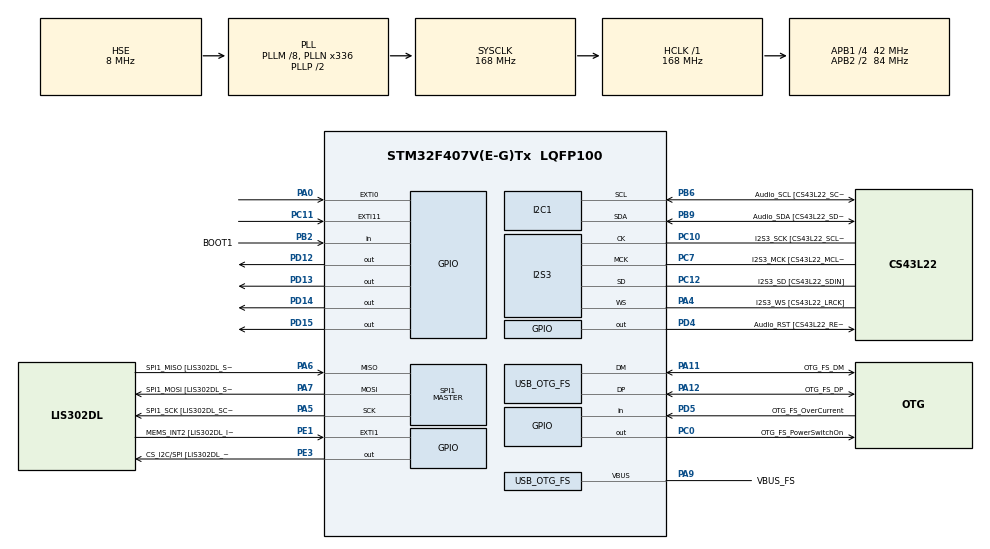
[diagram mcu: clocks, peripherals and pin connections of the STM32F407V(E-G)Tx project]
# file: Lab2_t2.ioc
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I2S3.AudioFreq-Half_Duplex_Master=I2S_AUDIOFREQ_96K
I2S3.ErrorAudioFreq=-2.34 %
I2S3.ErrorAudioFreq-Half_Duplex_Master=0.8 %
I2S3.FullDuplexMode=I2S_FULLDUPLEXMODE_DISABLE
I2S3.Instance=SPI$Index
I2S3.RealAudioFreq=93.75 KHz
I2S3.RealAudioFreq-Half_Duplex_Master=96.774 KHz
I2S3.VirtualMode=I2S_MODE_MASTER
Mcu.Family=STM32F4
Mcu.Name=STM32F407V(E-G)Tx
Mcu.Package=LQFP100
NVIC.EXTI0_IRQn=true\:0\:0\:false\:false\:true\:true\:true\:true
NVIC.OTG_FS_IRQn=true\:0\:0\:false\:false\:true\:true\:true\:true
NVIC.PriorityGroup=NVIC_PRIORITYGROUP_0
NVIC.TIM2_IRQn=true\:0\:0\:false\:false\:true\:true\:true\:true
PA0-WKUP.GPIO_ModeDefaultEXTI=GPIO_MODE_IT_RISING
PA0-WKUP.Signal=GPXTI0
PA10.GPIO_Label=OTG_FS_ID
PA10.GPIO_Mode=GPIO_MODE_AF_PP
PA10.GPIO_PuPd=GPIO_NOPULL
PA10.GPIO_Speed=GPIO_SPEED_FREQ_LOW
PA10.Signal=USB_OTG_FS_ID
PA11.GPIO_Label=OTG_FS_DM
PA11.GPIO_Mode=GPIO_MODE_AF_PP
PA11.GPIO_PuPd=GPIO_NOPULL
PA11.GPIO_Speed=GPIO_SPEED_FREQ_LOW
PA11.Mode=Host_Only
PA11.Signal=USB_OTG_FS_DM
PA12.GPIO_Label=OTG_FS_DP
PA12.GPIO_Mode=GPIO_MODE_AF_PP
PA12.GPIO_PuPd=GPIO_NOPULL
PA12.GPIO_Speed=GPIO_SPEED_FREQ_LOW
PA12.Mode=Host_Only
PA12.Signal=USB_OTG_FS_DP
PA13.GPIO_Label=SWDIO
PA13.Mode=Serial_Wire
PA13.Signal=SYS_JTMS-SWDIO
PA14.GPIO_Label=SWCLK
PA14.Mode=Serial_Wire
PA14.Signal=SYS_JTCK-SWCLK
PA4.GPIO_Label=I2S3_WS [CS43L22_LRCK]
PA4.GPIO_Mode=GPIO_MODE_AF_PP
PA4.GPIO_PuPd=GPIO_NOPULL
PA4.GPIO_Speed=GPIO_SPEED_FREQ_LOW
PA4.Mode=Half_Duplex_Master
PA4.Signal=I2S3_WS
PA5.GPIO_Label=SPI1_SCK [LIS302DL_SCL/SPC]
PA5.GPIO_Mode=GPIO_MODE_AF_PP
PA5.GPIO_PuPd=GPIO_NOPULL
PA5.GPIO_Speed=GPIO_SPEED_FREQ_LOW
PA5.Mode=Full_Duplex_Master
PA5.Signal=SPI1_SCK
PA6.GPIO_Label=SPI1_MISO [LIS302DL_SDO]
PA6.GPIO_Mode=GPIO_MODE_AF_PP
PA6.GPIO_PuPd=GPIO_NOPULL
PA6.GPIO_Speed=GPIO_SPEED_FREQ_LOW
PA6.Mode=Full_Duplex_Master
PA6.Signal=SPI1_MISO
PA7.GPIO_Label=SPI1_MOSI [LIS302DL_SDA/SDI/SDO]
PA7.GPIO_Mode=GPIO_MODE_AF_PP
PA7.GPIO_PuPd=GPIO_NOPULL
PA7.GPIO_Speed=GPIO_SPEED_FREQ_LOW
PA7.Mode=Full_Duplex_Master
PA7.Signal=SPI1_MOSI
PA9.GPIO_Label=VBUS_FS
PA9.GPIO_Mode=GPIO_MODE_INPUT
PA9.GPIO_PuPd=GPIO_NOPULL
PA9.Mode=Activate_VBUS
PA9.Signal=USB_OTG_FS_VBUS
PB10.GPIO_Label=CLK_IN [MP45DT02_CLK]
PB10.GPIO_Mode=GPIO_MODE_AF_PP
PB10.GPIO_PuPd=GPIO_NOPULL
PB10.GPIO_Speed=GPIO_SPEED_FREQ_LOW
PB10.Signal=I2S2_CK
PB2.GPIO_Label=BOOT1
PB2.GPIO_Mode=GPIO_MODE_INPUT
PB2.GPIO_PuPd=GPIO_NOPULL
PB2.Signal=GPIO_Input
PB3.GPIO_Label=SWO
PB3.Signal=SYS_JTDO-SWO
PB6.GPIO_Label=Audio_SCL [CS43L22_SCL]
PB6.GPIO_Mode=GPIO_MODE_AF_OD
PB6.GPIO_Pu=GPIO_PULLUP
PB6.GPIO_PuPd=GPIO_NOPULL
PB6.GPIO_Speed=GPIO_SPEED_FREQ_LOW
PB6.Mode=I2C
PB6.Signal=I2C1_SCL
PB9.GPIO_Label=Audio_SDA [CS43L22_SDA]
PB9.GPIO_Mode=GPIO_MODE_AF_OD
PB9.GPIO_Pu=GPIO_PULLUP
PB9.GPIO_PuPd=GPIO_NOPULL
PB9.GPIO_Speed=GPIO_SPEED_FREQ_LOW
PB9.Mode=I2C
PB9.Signal=I2C1_SDA
PC0.GPIO_Label=OTG_FS_PowerSwitchOn
PC0.GPIO_PuPd=GPIO_NOPULL
PC0.GPIO_Speed=GPIO_SPEED_FREQ_LOW
PC0.PinState=GPIO_PIN_SET
PC0.Signal=GPIO_Output
PC10.GPIO_Label=I2S3_SCK [CS43L22_SCLK]
PC10.GPIO_Mode=GPIO_MODE_AF_PP
PC10.GPIO_PuPd=GPIO_NOPULL
PC10.GPIO_Speed=GPIO_SPEED_FREQ_LOW
PC10.Mode=Half_Duplex_Master
PC10.Signal=I2S3_CK
PC11.GPIO_ModeDefaultEXTI=GPIO_MODE_IT_RISING_FALLING
PC11.Signal=GPXTI11
PC12.GPIO_Label=I2S3_SD [CS43L22_SDIN]
PC12.GPIO_Mode=GPIO_MODE_AF_PP
PC12.GPIO_PuPd=GPIO_NOPULL
PC12.GPIO_Speed=GPIO_SPEED_FREQ_LOW
PC12.Mode=Half_Duplex_Master
PC12.Signal=I2S3_SD
PC14-OSC32_IN.GPIO_Label=PC14-OSC32_IN
PC14-OSC32_IN.Mode=LSE-External-Oscillator
PC14-OSC32_IN.Signal=RCC_OSC32_IN
PC15-OSC32_OUT.GPIO_Label=PC15-OSC32_OUT
PC15-OSC32_OUT.Mode=LSE-External-Oscillator
PC15-OSC32_OUT.Signal=RCC_OSC32_OUT
PC3.GPIO_Label=PDM_OUT [MP45DT02_DOUT]
PC3.GPIO_Mode=GPIO_MODE_AF_PP
PC3.GPIO_PuPd=GPIO_NOPULL
PC3.GPIO_Speed=GPIO_SPEED_FREQ_LOW
PC3.Signal=I2S2_SD
PC7.GPIO_Label=I2S3_MCK [CS43L22_MCLK]
PC7.GPIO_Mode=GPIO_MODE_AF_PP
PC7.GPIO_PuPd=GPIO_NOPULL
PC7.GPIO_Speed=GPIO_SPEED_FREQ_LOW
PC7.Mode=Master_Clock_Activated
PC7.Signal=I2S3_MCK
PD12.Signal=GPIO_Output
PD13.Signal=GPIO_Output
PD14.Signal=GPIO_Output
PD15.Signal=GPIO_Output
PD4.GPIO_Label=Audio_RST [CS43L22_RESET]
PD4.GPIO_PuPd=GPIO_NOPULL
PD4.GPIO_Speed=GPIO_SPEED_FREQ_LOW
PD4.Signal=GPIO_Output
PD5.GPIO_Label=OTG_FS_OverCurrent
PD5.GPIO_Mode=GPIO_MODE_INPUT
PD5.GPIO_PuPd=GPIO_NOPULL
PD5.Signal=GPIO_Input
PE1.GPIO_Label=MEMS_INT2 [LIS302DL_INT2]
PE1.GPIO_ModeDefaultEXTI=GPIO_MODE_EVT_RISING
PE1.GPIO_PuPd=GPIO_NOPULL
PE1.Signal=GPXTI1
PE3.GPIO_Label=CS_I2C/SPI [LIS302DL_CS_I2C/SPI]
PE3.GPIO_PuPd=GPIO_NOPULL
PE3.GPIO_Speed=GPIO_SPEED_FREQ_LOW
PE3.Signal=GPIO_Output
PH0-OSC_IN.GPIO_Label=PH0-OSC_IN
PH0-OSC_IN.Mode=HSE-External-Oscillator
PH0-OSC_IN.Signal=RCC_OSC_IN
PH1-OSC_OUT.GPIO_Label=PH1-OSC_OUT
PH1-OSC_OUT.Mode=HSE-External-Oscillator
PH1-OSC_OUT.Signal=RCC_OSC_OUT
ProjectManager.HeapSize=0x200
ProjectManager.StackSize=0x400
ProjectManager.TargetToolchain=STM32CubeIDE
RCC.48MHZClocksFreq_Value=48000000
RCC.AHBFreq_Value=168000000
RCC.APB1CLKDivider=RCC_HCLK_DIV4
RCC.APB1Freq_Value=42000000
RCC.APB1TimFreq_Value=84000000
RCC.APB2CLKDivider=RCC_HCLK_DIV2
RCC.APB2Freq_Value=84000000
RCC.APB2TimFreq_Value=168000000
RCC.CortexFreq_Value=168000000
RCC.HCLKFreq_Value=168000000
RCC.HSE_VALUE=8000000
RCC.HSI_VALUE=16000000
RCC.PLLM=8
RCC.PLLN=336
RCC.PLLQ=7
RCC.SYSCLKFreq_VALUE=168000000
RCC.SYSCLKSource=RCC_SYSCLKSOURCE_PLLCLK
RCC.VCOOutputFreq_Value=336000000
SPI1.BaudRatePrescaler-Full_Duplex_Master=SPI_BAUDRATEPRESCALER_2
SPI1.CalculateBaudRate-Full_Duplex_Master=42.0 MBits/s
SPI1.Direction=SPI_DIRECTION_2LINES
SPI1.Mode=SPI_MODE_MASTER
SPI1.Mode-Full_Duplex_Master=SPI_MODE_MASTER
SPI1.VirtualType=VM_MASTER
TIM2.Period=2500-1
TIM2.Prescaler=8400-1
TIM4.Period=1000-1
TIM4.Prescaler=84
USB_HOST.BSP.number=1
USB_HOST.USBH_HandleTypeDef-CDC_FS=hUsbHostFS
USB_HOST.VirtualModeFS=Cdc
USB_HOST0.BSP.STBoard=false
USB_HOST0.BSP.api=Unknown
USB_HOST0.BSP.instance=PC0
USB_HOST0.BSP.ip=GPIO
USB_HOST0.BSP.mode=Output
USB_HOST0.BSP.name=Drive_VBUS_FS
USB_HOST0.BSP.solution=PC0
USB_OTG_FS.VirtualMode=Host_Only
USB_OTG_FS.phy_itface=HCD_PHY_EMBEDDED
VP_TIM2_VS_ClockSourceINT.Mode=Internal
VP_TIM4_VS_ClockSourceINT.Mode=Internal
VP_USB_HOST_VS_USB_HOST_CDC_FS.Mode=CDC_FS
board=STM32F407G-DISC1

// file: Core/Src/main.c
/* USER CODE BEGIN Header */
/**
  ******************************************************************************
  * @file           : main.c
  * @brief          : Main program body
  ******************************************************************************
  * @attention
  *
  * Copyright (c) 2025 STMicroelectronics.
  * All rights reserved.
  *
  * This software is licensed under terms that can be found in the LICENSE file
  * in the root directory of this software component.
  * If no LICENSE file comes with this software, it is provided AS-IS.
  *
  ******************************************************************************
  */
/* USER CODE END Header */
#include "main.h"
#include "usb_host.h"

I2C_HandleTypeDef hi2c1;

I2S_HandleTypeDef hi2s3;

SPI_HandleTypeDef hspi1;

TIM_HandleTypeDef htim2;
TIM_HandleTypeDef htim4;

/* USER CODE BEGIN PV */
uint32_t currentClick = 0;
uint32_t prevClick = 0;
uint8_t numTickInCycle = 0;
uint8_t isActive = 0;
uint8_t sigFromTimer = 0;
/* USER CODE END PV */

void SystemClock_Config(void);
static void MX_GPIO_Init(void);
static void MX_I2C1_Init(void);
static void MX_I2S3_Init(void);
static void MX_SPI1_Init(void);
static void MX_TIM4_Init(void);
static void MX_TIM2_Init(void);
void MX_USB_HOST_Process(void);

/* USER CODE BEGIN 0 */
void ctrlLED(void)
{
	sigFromTimer = 0;
	if (isActive)
	{
		// If the last bit is 0, the number is divisible by 2
		// If the last 2 bits are 0, the number is divisible by 4
		// If the last 3 bits are 0, the number is divisible by 8
		HAL_GPIO_TogglePin(GPIOD, GPIO_PIN_12);  // 250 ms -- at every tick
		if (!(numTickInCycle & 0b01))
			HAL_GPIO_TogglePin(GPIOD, GPIO_PIN_13);  // 500 ms -- at every 2nd click
		if (!(numTickInCycle & 0b011))
			HAL_GPIO_TogglePin(GPIOD, GPIO_PIN_14); // 1 s -- at every 4th click
		if (!(numTickInCycle & 0b0111))
			HAL_GPIO_TogglePin(GPIOD, GPIO_PIN_15); // 2 s -- at every 8th click
	}
}
/* USER CODE END 0 */

int main(void)
{

  /* MCU Configuration--------------------------------------------------------*/

  /* Reset of all peripherals, Initializes the Flash interface and the Systick. */
  HAL_Init();

  /* Configure the system clock */
  SystemClock_Config();

  /* Initialize all configured peripherals */
  MX_GPIO_Init();
  MX_I2C1_Init();
  MX_I2S3_Init();
  MX_SPI1_Init();
  MX_USB_HOST_Init();
  MX_TIM4_Init();
  MX_TIM2_Init();
  /* USER CODE BEGIN 2 */
  HAL_TIM_Base_Start_IT(&htim2);

  HAL_GPIO_WritePin(GPIOD, GPIO_PIN_12, GPIO_PIN_RESET);
  HAL_GPIO_WritePin(GPIOD, GPIO_PIN_13, GPIO_PIN_RESET);
  HAL_GPIO_WritePin(GPIOD, GPIO_PIN_14, GPIO_PIN_RESET);
  HAL_GPIO_WritePin(GPIOD, GPIO_PIN_15, GPIO_PIN_RESET);
  /* USER CODE END 2 */

  /* Infinite loop */
  while (1)
  {
    MX_USB_HOST_Process();

    /* USER CODE BEGIN 3 */
    if (sigFromTimer) {
    	ctrlLED();
    }
  }
  /* USER CODE END 3 */
}

void SystemClock_Config(void)
{
  RCC_OscInitTypeDef RCC_OscInitStruct = {0};
  RCC_ClkInitTypeDef RCC_ClkInitStruct = {0};

  /** Configure the main internal regulator output voltage
  */
  __HAL_RCC_PWR_CLK_ENABLE();
  __HAL_PWR_VOLTAGESCALING_CONFIG(PWR_REGULATOR_VOLTAGE_SCALE1);

  /** Initializes the RCC Oscillators according to the specified parameters
  * in the RCC_OscInitTypeDef structure.
  */
  RCC_OscInitStruct.OscillatorType = RCC_OSCILLATORTYPE_HSE;
  RCC_OscInitStruct.HSEState = RCC_HSE_ON;
  RCC_OscInitStruct.PLL.PLLState = RCC_PLL_ON;
  RCC_OscInitStruct.PLL.PLLSource = RCC_PLLSOURCE_HSE;
  RCC_OscInitStruct.PLL.PLLM = 8;
  RCC_OscInitStruct.PLL.PLLN = 336;
  RCC_OscInitStruct.PLL.PLLP = RCC_PLLP_DIV2;
  RCC_OscInitStruct.PLL.PLLQ = 7;
  if (HAL_RCC_OscConfig(&RCC_OscInitStruct) != HAL_OK)
  {
    Error_Handler();
  }

  /** Initializes the CPU, AHB and APB buses clocks
  */
  RCC_ClkInitStruct.ClockType = RCC_CLOCKTYPE_HCLK|RCC_CLOCKTYPE_SYSCLK
                              |RCC_CLOCKTYPE_PCLK1|RCC_CLOCKTYPE_PCLK2;
  RCC_ClkInitStruct.SYSCLKSource = RCC_SYSCLKSOURCE_PLLCLK;
  RCC_ClkInitStruct.AHBCLKDivider = RCC_SYSCLK_DIV1;
  RCC_ClkInitStruct.APB1CLKDivider = RCC_HCLK_DIV4;
  RCC_ClkInitStruct.APB2CLKDivider = RCC_HCLK_DIV2;

  if (HAL_RCC_ClockConfig(&RCC_ClkInitStruct, FLASH_LATENCY_5) != HAL_OK)
  {
    Error_Handler();
  }
}

static void MX_I2C1_Init(void)
{

  hi2c1.Instance = I2C1;
  hi2c1.Init.ClockSpeed = 100000;
  hi2c1.Init.DutyCycle = I2C_DUTYCYCLE_2;
  hi2c1.Init.OwnAddress1 = 0;
  hi2c1.Init.AddressingMode = I2C_ADDRESSINGMODE_7BIT;
  hi2c1.Init.DualAddressMode = I2C_DUALADDRESS_DISABLE;
  hi2c1.Init.OwnAddress2 = 0;
  hi2c1.Init.GeneralCallMode = I2C_GENERALCALL_DISABLE;
  hi2c1.Init.NoStretchMode = I2C_NOSTRETCH_DISABLE;
  if (HAL_I2C_Init(&hi2c1) != HAL_OK)
  {
    Error_Handler();
  }

}

static void MX_I2S3_Init(void)
{

  hi2s3.Instance = SPI3;
  hi2s3.Init.Mode = I2S_MODE_MASTER_TX;
  hi2s3.Init.Standard = I2S_STANDARD_PHILIPS;
  hi2s3.Init.DataFormat = I2S_DATAFORMAT_16B;
  hi2s3.Init.MCLKOutput = I2S_MCLKOUTPUT_ENABLE;
  hi2s3.Init.AudioFreq = I2S_AUDIOFREQ_96K;
  hi2s3.Init.CPOL = I2S_CPOL_LOW;
  hi2s3.Init.ClockSource = I2S_CLOCK_PLL;
  hi2s3.Init.FullDuplexMode = I2S_FULLDUPLEXMODE_DISABLE;
  if (HAL_I2S_Init(&hi2s3) != HAL_OK)
  {
    Error_Handler();
  }

}

static void MX_SPI1_Init(void)
{

  /* SPI1 parameter configuration*/
  hspi1.Instance = SPI1;
  hspi1.Init.Mode = SPI_MODE_MASTER;
  hspi1.Init.Direction = SPI_DIRECTION_2LINES;
  hspi1.Init.DataSize = SPI_DATASIZE_8BIT;
  hspi1.Init.CLKPolarity = SPI_POLARITY_LOW;
  hspi1.Init.CLKPhase = SPI_PHASE_1EDGE;
  hspi1.Init.NSS = SPI_NSS_SOFT;
  hspi1.Init.BaudRatePrescaler = SPI_BAUDRATEPRESCALER_2;
  hspi1.Init.FirstBit = SPI_FIRSTBIT_MSB;
  hspi1.Init.TIMode = SPI_TIMODE_DISABLE;
  hspi1.Init.CRCCalculation = SPI_CRCCALCULATION_DISABLE;
  hspi1.Init.CRCPolynomial = 10;
  if (HAL_SPI_Init(&hspi1) != HAL_OK)
  {
    Error_Handler();
  }

}

static void MX_TIM2_Init(void)
{

  TIM_ClockConfigTypeDef sClockSourceConfig = {0};
  TIM_MasterConfigTypeDef sMasterConfig = {0};

  htim2.Instance = TIM2;
  htim2.Init.Prescaler = 8400-1;
  htim2.Init.CounterMode = TIM_COUNTERMODE_UP;
  htim2.Init.Period = 2500-1;
  htim2.Init.ClockDivision = TIM_CLOCKDIVISION_DIV1;
  htim2.Init.AutoReloadPreload = TIM_AUTORELOAD_PRELOAD_DISABLE;
  if (HAL_TIM_Base_Init(&htim2) != HAL_OK)
  {
    Error_Handler();
  }
  sClockSourceConfig.ClockSource = TIM_CLOCKSOURCE_INTERNAL;
  if (HAL_TIM_ConfigClockSource(&htim2, &sClockSourceConfig) != HAL_OK)
  {
    Error_Handler();
  }
  sMasterConfig.MasterOutputTrigger = TIM_TRGO_RESET;
  sMasterConfig.MasterSlaveMode = TIM_MASTERSLAVEMODE_DISABLE;
  if (HAL_TIMEx_MasterConfigSynchronization(&htim2, &sMasterConfig) != HAL_OK)
  {
    Error_Handler();
  }

}

static void MX_TIM4_Init(void)
{

  TIM_ClockConfigTypeDef sClockSourceConfig = {0};
  TIM_MasterConfigTypeDef sMasterConfig = {0};

  htim4.Instance = TIM4;
  htim4.Init.Prescaler = 84;
  htim4.Init.CounterMode = TIM_COUNTERMODE_UP;
  htim4.Init.Period = 1000-1;
  htim4.Init.ClockDivision = TIM_CLOCKDIVISION_DIV1;
  htim4.Init.AutoReloadPreload = TIM_AUTORELOAD_PRELOAD_DISABLE;
  if (HAL_TIM_Base_Init(&htim4) != HAL_OK)
  {
    Error_Handler();
  }
  sClockSourceConfig.ClockSource = TIM_CLOCKSOURCE_INTERNAL;
  if (HAL_TIM_ConfigClockSource(&htim4, &sClockSourceConfig) != HAL_OK)
  {
    Error_Handler();
  }
  sMasterConfig.MasterOutputTrigger = TIM_TRGO_RESET;
  sMasterConfig.MasterSlaveMode = TIM_MASTERSLAVEMODE_DISABLE;
  if (HAL_TIMEx_MasterConfigSynchronization(&htim4, &sMasterConfig) != HAL_OK)
  {
    Error_Handler();
  }

}

static void MX_GPIO_Init(void)
{
  GPIO_InitTypeDef GPIO_InitStruct = {0};

  /* GPIO Ports Clock Enable */
  __HAL_RCC_GPIOE_CLK_ENABLE();
  __HAL_RCC_GPIOC_CLK_ENABLE();
  __HAL_RCC_GPIOH_CLK_ENABLE();
  __HAL_RCC_GPIOA_CLK_ENABLE();
  __HAL_RCC_GPIOB_CLK_ENABLE();
  __HAL_RCC_GPIOD_CLK_ENABLE();

  /*Configure GPIO pin Output Level */
  HAL_GPIO_WritePin(CS_I2C_SPI_GPIO_Port, CS_I2C_SPI_Pin, GPIO_PIN_RESET);

  /*Configure GPIO pin Output Level */
  HAL_GPIO_WritePin(OTG_FS_PowerSwitchOn_GPIO_Port, OTG_FS_PowerSwitchOn_Pin, GPIO_PIN_SET);

  /*Configure GPIO pin Output Level */
  HAL_GPIO_WritePin(GPIOD, GPIO_PIN_12|GPIO_PIN_13|GPIO_PIN_14|GPIO_PIN_15
                          |Audio_RST_Pin, GPIO_PIN_RESET);

  /*Configure GPIO pin : CS_I2C_SPI_Pin */
  GPIO_InitStruct.Pin = CS_I2C_SPI_Pin;
  GPIO_InitStruct.Mode = GPIO_MODE_OUTPUT_PP;
  GPIO_InitStruct.Pull = GPIO_NOPULL;
  GPIO_InitStruct.Speed = GPIO_SPEED_FREQ_LOW;
  HAL_GPIO_Init(CS_I2C_SPI_GPIO_Port, &GPIO_InitStruct);

  /*Configure GPIO pin : OTG_FS_PowerSwitchOn_Pin */
  GPIO_InitStruct.Pin = OTG_FS_PowerSwitchOn_Pin;
  GPIO_InitStruct.Mode = GPIO_MODE_OUTPUT_PP;
  GPIO_InitStruct.Pull = GPIO_NOPULL;
  GPIO_InitStruct.Speed = GPIO_SPEED_FREQ_LOW;
  HAL_GPIO_Init(OTG_FS_PowerSwitchOn_GPIO_Port, &GPIO_InitStruct);

  /*Configure GPIO pin : PDM_OUT_Pin */
  GPIO_InitStruct.Pin = PDM_OUT_Pin;
  GPIO_InitStruct.Mode = GPIO_MODE_AF_PP;
  GPIO_InitStruct.Pull = GPIO_NOPULL;
  GPIO_InitStruct.Speed = GPIO_SPEED_FREQ_LOW;
  GPIO_InitStruct.Alternate = GPIO_AF5_SPI2;
  HAL_GPIO_Init(PDM_OUT_GPIO_Port, &GPIO_InitStruct);

  /*Configure GPIO pin : PA0 */
  GPIO_InitStruct.Pin = GPIO_PIN_0;
  GPIO_InitStruct.Mode = GPIO_MODE_IT_RISING;
  GPIO_InitStruct.Pull = GPIO_NOPULL;
  HAL_GPIO_Init(GPIOA, &GPIO_InitStruct);

  /*Configure GPIO pin : BOOT1_Pin */
  GPIO_InitStruct.Pin = BOOT1_Pin;
  GPIO_InitStruct.Mode = GPIO_MODE_INPUT;
  GPIO_InitStruct.Pull = GPIO_NOPULL;
  HAL_GPIO_Init(BOOT1_GPIO_Port, &GPIO_InitStruct);

  /*Configure GPIO pin : CLK_IN_Pin */
  GPIO_InitStruct.Pin = CLK_IN_Pin;
  GPIO_InitStruct.Mode = GPIO_MODE_AF_PP;
  GPIO_InitStruct.Pull = GPIO_NOPULL;
  GPIO_InitStruct.Speed = GPIO_SPEED_FREQ_LOW;
  GPIO_InitStruct.Alternate = GPIO_AF5_SPI2;
  HAL_GPIO_Init(CLK_IN_GPIO_Port, &GPIO_InitStruct);

  /*Configure GPIO pins : PD12 PD13 PD14 PD15
                           Audio_RST_Pin */
  GPIO_InitStruct.Pin = GPIO_PIN_12|GPIO_PIN_13|GPIO_PIN_14|GPIO_PIN_15
                          |Audio_RST_Pin;
  GPIO_InitStruct.Mode = GPIO_MODE_OUTPUT_PP;
  GPIO_InitStruct.Pull = GPIO_NOPULL;
  GPIO_InitStruct.Speed = GPIO_SPEED_FREQ_LOW;
  HAL_GPIO_Init(GPIOD, &GPIO_InitStruct);

  /*Configure GPIO pin : PC11 */
  GPIO_InitStruct.Pin = GPIO_PIN_11;
  GPIO_InitStruct.Mode = GPIO_MODE_IT_RISING_FALLING;
  GPIO_InitStruct.Pull = GPIO_NOPULL;
  HAL_GPIO_Init(GPIOC, &GPIO_InitStruct);

  /*Configure GPIO pin : OTG_FS_OverCurrent_Pin */
  GPIO_InitStruct.Pin = OTG_FS_OverCurrent_Pin;
  GPIO_InitStruct.Mode = GPIO_MODE_INPUT;
  GPIO_InitStruct.Pull = GPIO_NOPULL;
  HAL_GPIO_Init(OTG_FS_OverCurrent_GPIO_Port, &GPIO_InitStruct);

  /*Configure GPIO pin : MEMS_INT2_Pin */
  GPIO_InitStruct.Pin = MEMS_INT2_Pin;
  GPIO_InitStruct.Mode = GPIO_MODE_EVT_RISING;
  GPIO_InitStruct.Pull = GPIO_NOPULL;
  HAL_GPIO_Init(MEMS_INT2_GPIO_Port, &GPIO_InitStruct);

  /* EXTI interrupt init*/
  HAL_NVIC_SetPriority(EXTI0_IRQn, 0, 0);
  HAL_NVIC_EnableIRQ(EXTI0_IRQn);

}

/* USER CODE BEGIN 4 */

void HAL_GPIO_EXTI_Callback(uint16_t GPIO_Pin)
{
	currentClick = HAL_GetTick();
	if (GPIO_Pin == GPIO_PIN_0 && (currentClick - prevClick > 100))  // Blue button
	{
		isActive = isActive ^ 1;
		prevClick = currentClick;
	}
}

void HAL_TIM_PeriodElapsedCallback(TIM_HandleTypeDef *htim) {
	if (htim->Instance == TIM2)
	{
		if (++numTickInCycle > 8)
					numTickInCycle = 1;
		sigFromTimer = 1;
	}
}

/* USER CODE END 4 */

void Error_Handler(void)
{
  __disable_irq();
  while (1)
  {
  }
}
